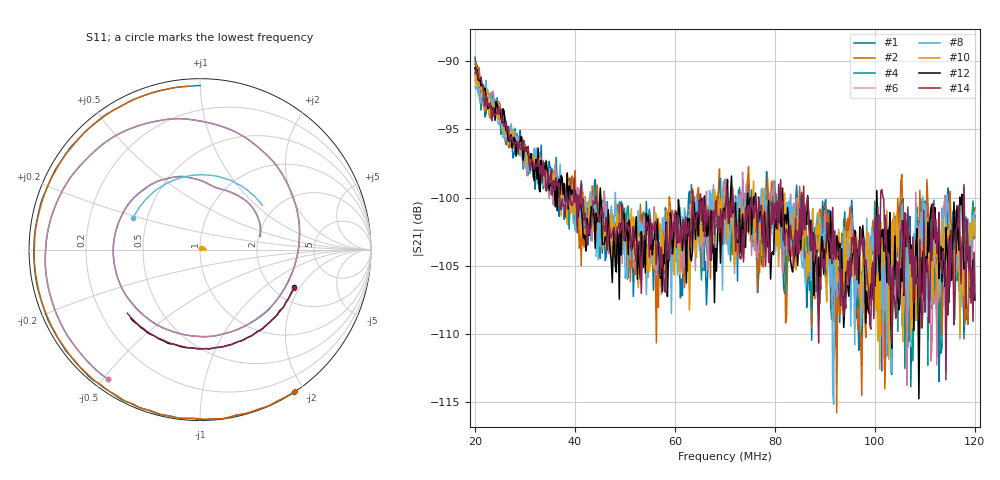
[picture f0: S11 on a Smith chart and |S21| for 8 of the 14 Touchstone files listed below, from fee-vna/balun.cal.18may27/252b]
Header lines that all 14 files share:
! Anritsu VNA Master:  Model: MS2036C/10/77
! SN:  1601066
! Existing Calibration Information:
! TYPE:  Current Settings,  Active Cal Settings
! # POINTS:  500,  500
! START FREQ:  20.000 MHz,  20.000 MHz
! STOP FREQ:  120.000 MHz,  120.000 MHz
! SOURCE POWER:  High,  High
! IFBW:  50 Hz,  50 Hz
! AVG FACTOR:  1 ,  1
! REF PLANE 1:  0 mm,  0 mm
! REF PLANE 2:  0 mm,  0 mm
! CAL TYPE:  Full S11,  Full S11
! CAL METHOD:  SOLT,  SOLT
! CAL LINE TYPE:  Coax,  Coax
! DUT PORT 1:  K-Conn(M),  K-Conn(M)
! DUT PORT 2:  K-Conn(M),  K-Conn(M)
! CAL STATUS:  OK: Accuracy High,  --
# GHZ S DB R 50.0
! FREQ.GHZ  S11DB  S11A  S21DB  S21A  S12DB  S12A  S22DB  S22A
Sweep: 20 MHz to 120 MHz
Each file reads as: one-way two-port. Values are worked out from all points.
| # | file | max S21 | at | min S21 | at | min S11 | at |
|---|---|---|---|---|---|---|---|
| 1 | 2b.47.2.s2p | -89.70 dB | 20 MHz | -113.9 dB | 107.2 MHz | -0.4 dB | 117.4 MHz |
| 2 | 2b.47.6-7.s2p | -90.06 dB | 20.2 MHz | -115.8 dB | 92.34 MHz | -0.4 dB | 110.8 MHz |
| 3 | 2b.m.1.s2p | -90.58 dB | 20 MHz | -114.7 dB | 107.8 MHz | -8.9 dB | 120 MHz |
| 4 | 2b.m.2.s2p | -90.55 dB | 20 MHz | -112.5 dB | 106 MHz | -8.9 dB | 120 MHz |
| 5 | 2b.m.3.bad.s2p | -90.87 dB | 20 MHz | -114.6 dB | 111.6 MHz | -8.9 dB | 120 MHz |
| 6 | 2b.m.6.s2p | -91.03 dB | 20 MHz | -113.8 dB | 106.4 MHz | -8.9 dB | 120 MHz |
| 7 | 2b.m.7.s2p | -90.74 dB | 20 MHz | -111.5 dB | 101.8 MHz | -8.9 dB | 120 MHz |
| 8 | 2b.r20.6-7.s2p | -91.39 dB | 22.2 MHz | -115.2 dB | 91.74 MHz | -7.3 dB | 31.02 MHz |
| 9 | 2b.r50.2.s2p | -91.07 dB | 20 MHz | -118.0 dB | 100.6 MHz | -40.1 dB | 21.4 MHz |
| 10 | 2b.r50.4-5.s2p | -91.03 dB | 20.2 MHz | -112.6 dB | 101 MHz | -39.1 dB | 20 MHz |
| 11 | 2b.r50.6-7.s2p | -90.76 dB | 20.2 MHz | -111.4 dB | 102 MHz | -39.1 dB | 20.4 MHz |
| 12 | 2b.r200.1.s2p | -90.46 dB | 20 MHz | -114.8 dB | 108.8 MHz | -4.9 dB | 115.2 MHz |
| 13 | 2b.r200.2.s2p | -90.51 dB | 20.4 MHz | -111.7 dB | 93.55 MHz | -4.9 dB | 119.6 MHz |
| 14 | 2b.r200.4-5.s2p | -90.59 dB | 20.2 MHz | -113.4 dB | 114.2 MHz | -5.0 dB | 120 MHz |
